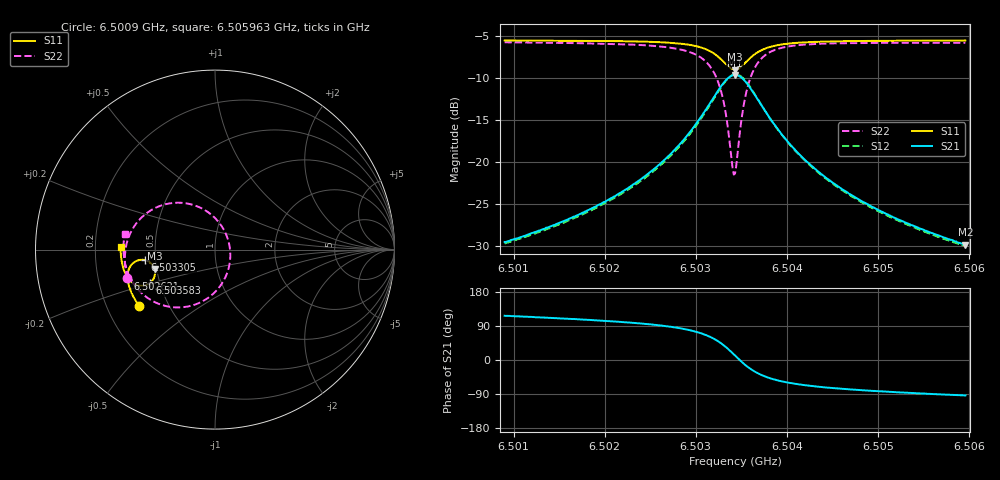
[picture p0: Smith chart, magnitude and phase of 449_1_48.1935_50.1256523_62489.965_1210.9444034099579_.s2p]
#  HZ  S  RI  R  50.00
! Rohde & Schwarz Vector Network Analyzer
! Rohde-Schwarz,ZNB20-2Port,1311601062101988,3.16
! Created: UTC 3/20/2024, 11:56:09 AM
! freq[Hz]  re:S11  im:S11  re:S21  im:S21  re:S12  im:S12  re:S22  im:S22
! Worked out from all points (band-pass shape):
!   401 points, 6.5009 GHz to 6.505963 GHz, reference 50 ohm
!   highest |S21| = -9.66 dB at 6.503431 GHz (marker M1); lowest = -29.9 dB at 6.505963 GHz (marker M2)
!   |S21| within 3 dB of the highest: 6.503179 GHz to 6.503685 GHz (506.2 kHz wide, 0.00778 % of centre)
!   lowest |S11| = -9.0 dB at 6.503431 GHz (marker M3), VSWR 2.09, Z = 24.3 - j5.95 ohm
!   |S11| at or under -10 dB: nowhere
!   |S22| runs from -21.5 to -5.8 dB; largest |S21 - S12| = 0.011
!   S11 on the Smith chart (normalised r, x): 6.5009 GHz: 0.34, -0.29; 6.502621 GHz: 0.33, -0.15; 6.503305 GHz: 0.44, -0.06; 6.503583 GHz: 0.44, -0.20; 6.505963 GHz: 0.31, +0.01
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6.5008999e9  -0.4241 -0.312  -0.015 0.0298  -0.0134 0.0298  -0.4879 -0.1596
6.5017479e9  -0.4609 -0.2498  -0.0144 0.0474  -0.012 0.047  -0.502 -0.0703
6.5022289e9  -0.4778 -0.2073  -0.0113 0.0675  -0.0083 0.0663  -0.499 -0.00213
6.502596e9  -0.4868 -0.1669  -0.00264 0.0959  0.000994 0.0937  -0.4805 0.0707
6.5026213e9  -0.4869 -0.1637  -0.00153 0.0987  0.00218 0.0963  -0.478 0.0768
6.5029124e9  -0.4834 -0.1191  0.0255 0.1424  0.0294 0.138  -0.4219 0.1659
6.5031023e9  -0.4623 -0.0809  0.0793 0.1844  0.0819 0.1783  -0.3191 0.2383
6.5032162e9  -0.4299 -0.0603  0.1481 0.2021  0.149 0.1958  -0.1954 0.2611
6.5033048e9  -0.3896 -0.0584  0.2273 0.1863  0.2277 0.1811  -0.0589 0.2213
6.5033428e9  -0.3702 -0.0659  0.2636 0.1634  0.2645 0.1587  0.00119 0.1748
6.5034061e9  -0.3435 -0.0924  0.3115 0.0996  0.314 0.0948  0.0736 0.0525
6.5034314e9  -0.3371 -0.1071  0.3218 0.0676  0.3251 0.0618  0.0847 -0.00762
6.5034567e9  -0.3341 -0.1227  0.3254 0.0338  0.3291 0.0271  0.083 -0.0688
6.50352e9  -0.341 -0.1601  0.3075 -0.0441  0.3099 -0.0542  0.0279 -0.2043
6.5035833e9  -0.3623 -0.186  0.2648 -0.0984  0.2639 -0.1096  -0.0684 -0.2874
6.5036845e9  -0.4018 -0.2013  0.1901 -0.1346  0.1849 -0.1443  -0.2184 -0.3222
6.5038491e9  -0.448 -0.1919  0.1085 -0.1318  0.1015 -0.1368  -0.3656 -0.2757
6.5040263e9  -0.4754 -0.1705  0.064 -0.1118  0.0577 -0.114  -0.4378 -0.2111
6.5042794e9  -0.4961 -0.1406  0.0339 -0.0874  0.0293 -0.0881  -0.4812 -0.1389
6.5046844e9  -0.5125 -0.0986  0.0141 -0.063  0.011 -0.0629  -0.5045 -0.0601
6.5051275e9  -0.5212 -0.0578  0.00506 -0.0478  0.0028 -0.0471  -0.5101 0.0015
6.5059628e9  -0.526 0.0128  -0.00198 -0.0321  -0.00336 -0.0313  -0.5022 0.0894
